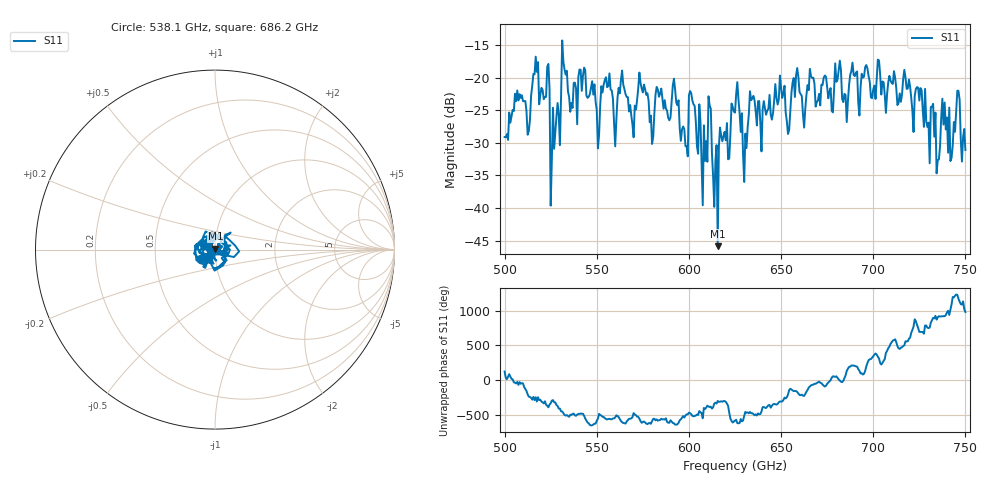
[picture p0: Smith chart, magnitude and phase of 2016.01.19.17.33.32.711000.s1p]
!Created with skrf (http://scikit-rf.org).
# GHz S RI R 50.0
!freq ReS11 ImS11
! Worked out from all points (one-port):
!   401 points, 500 GHz to 750 GHz, reference 50 ohm
!   lowest |S11| = -45.8 dB at 615.6 GHz (marker M1), VSWR 1.01, Z = 50.2 + j0.452 ohm
!   |S11| at or under -10 dB: start of sweep to end of sweep
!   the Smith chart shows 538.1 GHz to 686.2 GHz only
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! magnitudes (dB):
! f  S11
! 500 GHz  -29.1
! 506.9 GHz  -22.0
! 513.1 GHz  -28.2
! 516.9 GHz  -16.8
! 523.1 GHz  -18.3
! 526.2 GHz  -24.6
! 531.2 GHz  -14.3
! 542.5 GHz  -19.7
! 550.6 GHz  -30.9
! 562.5 GHz  -22.4
! 568.8 GHz  -25.8
! 574.4 GHz  -21.7
! 580 GHz  -30.2
! 583.8 GHz  -22.9
! 593.8 GHz  -24.2
! 601.2 GHz  -22.4
! 615.6 GHz  -45.8
! 625 GHz  -25.4
! 630.6 GHz  -28.6
! 634.4 GHz  -23.2
! 650.6 GHz  -23.1
! 653.8 GHz  -28.6
! 656.2 GHz  -20.7
! 687.5 GHz  -19.6
! 718.8 GHz  -21.7
! 735 GHz  -32.6
! 745.6 GHz  -22.0
! 750 GHz  -31.1
